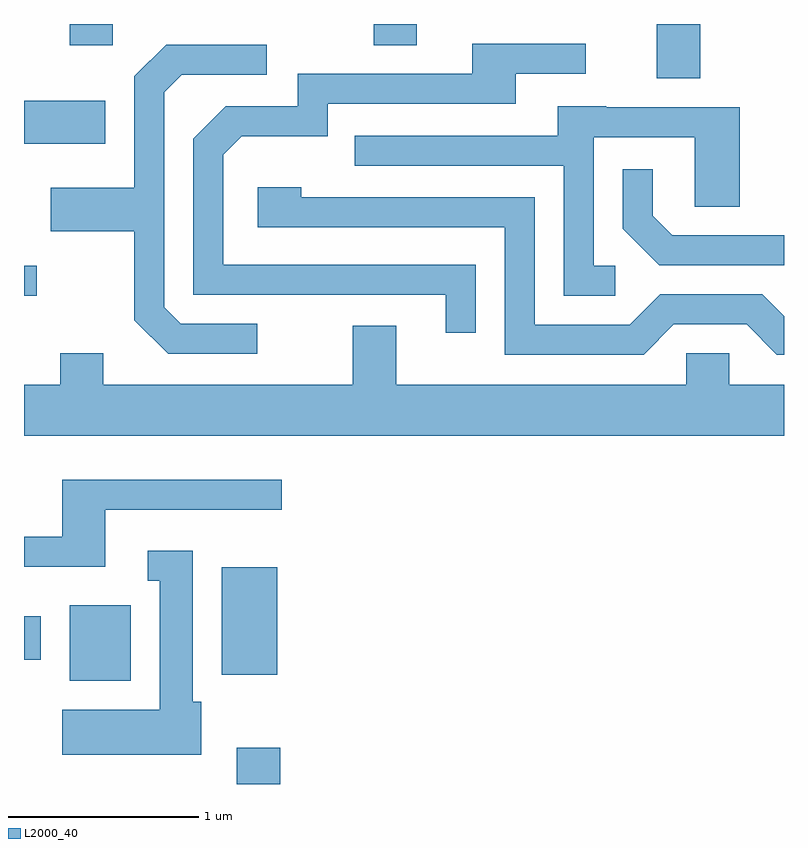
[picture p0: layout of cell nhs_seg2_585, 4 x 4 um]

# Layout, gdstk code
import gdstk
lib = gdstk.Library(unit=1e-6, precision=1e-09)
def R(c, l, rs):  # rectangles x0, y0, x1, y1
    for r in rs: c.add(gdstk.rectangle(r[:2], r[2:], *l))
def P(c, l, *ps):  # polygons
    for p in ps: c.add(gdstk.Polygon(p, *l))
L2000_40 = (2000, 40)

nhs_seg2_585 = lib.new_cell('nhs_seg2_585')
R(nhs_seg2_585, L2000_40, [(202.731,1059.802,202.959,1059.994), (201.851,1060.346,202.174,1060.744), (202.651,1060.376,202.944,1060.944), (201.611,1060.456,201.699,1060.684), (201.611,1062.371,201.678,1062.529), (201.611,1063.171,202.039,1063.399), (204.941,1063.516,205.169,1063.802), (201.851,1063.691,202.079,1063.802), (203.451,1063.691,203.679,1063.802)])
P(nhs_seg2_585, L2000_40, [(203.989,1062.534),(202.659,1062.534),(202.659,1063.114),(202.757,1063.211),(203.209,1063.211),(203.209,1063.381),(204.199,1063.381),(204.199,1063.541),(204.568,1063.541),(204.568,1063.699),(203.971,1063.699),(203.971,1063.539),(203.051,1063.539),(203.051,1063.369),(202.674,1063.369),(202.501,1063.197),(202.501,1062.376),(203.831,1062.376),(203.831,1062.178),(203.989,1062.178)],
  [(202.838,1062.224),(202.437,1062.224),(202.349,1062.312),(202.349,1063.444),(202.442,1063.536),(202.888,1063.536),(202.888,1063.694),(202.359,1063.694),(202.191,1063.527),(202.191,1062.939),(201.751,1062.939),(201.751,1062.711),(202.191,1062.711),(202.191,1062.244),(202.369,1062.066),(202.838,1062.066)],
  [(204.723,1062.529),(204.609,1062.529),(204.609,1063.206),(205.141,1063.206),(205.141,1062.841),(205.379,1062.841),(205.379,1063.364),(204.675,1063.364),(204.675,1063.369),(204.421,1063.369),(204.421,1063.214),(203.353,1063.214),(203.353,1063.056),(204.451,1063.056),(204.451,1062.371),(204.723,1062.371)],
  [(205.611,1062.689),(205.022,1062.689),(204.919,1062.792),(204.919,1063.038),(204.761,1063.038),(204.761,1062.724),(204.954,1062.531),(205.611,1062.531)],
  [(205.032,1062.221),(205.414,1062.221),(205.574,1062.061),(205.611,1062.061),(205.611,1062.265),(205.497,1062.379),(204.959,1062.379),(204.799,1062.219),(204.299,1062.219),(204.299,1062.889),(203.069,1062.889),(203.069,1062.944),(202.841,1062.944),(202.841,1062.731),(204.141,1062.731),(204.141,1062.061),(204.872,1062.061)],
  [(205.611,1061.904),(205.324,1061.904),(205.324,1062.069),(205.096,1062.069),(205.096,1061.904),(203.569,1061.904),(203.569,1062.214),(203.341,1062.214),(203.341,1061.904),(202.029,1061.904),(202.029,1062.069),(201.801,1062.069),(201.801,1061.904),(201.611,1061.904),(201.611,1061.636),(205.611,1061.636)],
  [(202.039,1061.246),(202.968,1061.246),(202.968,1061.404),(201.811,1061.404),(201.811,1061.104),(201.611,1061.104),(201.611,1060.946),(202.039,1060.946)],
  [(202.544,1060.234),(202.499,1060.234),(202.499,1061.029),(202.263,1061.029),(202.263,1060.871),(202.326,1060.871),(202.326,1060.194),(201.811,1060.194),(201.811,1059.956),(202.544,1059.956)])

lib.write_gds('nhs_seg2_585.gds')
